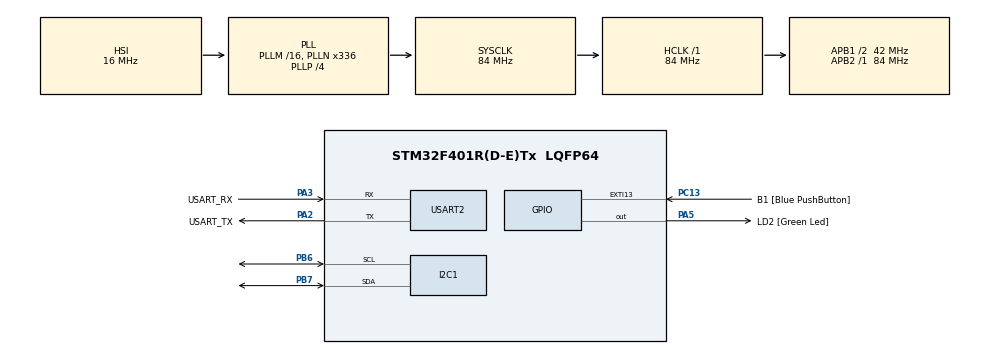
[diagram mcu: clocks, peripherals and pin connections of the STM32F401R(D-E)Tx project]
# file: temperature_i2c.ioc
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Dma.I2C1_RX.1.Direction=DMA_PERIPH_TO_MEMORY
Dma.I2C1_RX.1.FIFOMode=DMA_FIFOMODE_DISABLE
Dma.I2C1_RX.1.Instance=DMA1_Stream0
Dma.I2C1_RX.1.MemDataAlignment=DMA_MDATAALIGN_BYTE
Dma.I2C1_RX.1.MemInc=DMA_MINC_ENABLE
Dma.I2C1_RX.1.Mode=DMA_NORMAL
Dma.I2C1_RX.1.PeriphDataAlignment=DMA_PDATAALIGN_BYTE
Dma.I2C1_RX.1.PeriphInc=DMA_PINC_DISABLE
Dma.I2C1_RX.1.Priority=DMA_PRIORITY_HIGH
Dma.I2C1_TX.0.Direction=DMA_MEMORY_TO_PERIPH
Dma.I2C1_TX.0.FIFOMode=DMA_FIFOMODE_DISABLE
Dma.I2C1_TX.0.Instance=DMA1_Stream6
Dma.I2C1_TX.0.MemDataAlignment=DMA_MDATAALIGN_BYTE
Dma.I2C1_TX.0.MemInc=DMA_MINC_ENABLE
Dma.I2C1_TX.0.Mode=DMA_NORMAL
Dma.I2C1_TX.0.PeriphDataAlignment=DMA_PDATAALIGN_BYTE
Dma.I2C1_TX.0.PeriphInc=DMA_PINC_DISABLE
Dma.I2C1_TX.0.Priority=DMA_PRIORITY_HIGH
Dma.Request0=I2C1_TX
Dma.Request1=I2C1_RX
Mcu.Family=STM32F4
Mcu.Name=STM32F401R(D-E)Tx
Mcu.Package=LQFP64
NVIC.DMA1_Stream0_IRQn=true\:0\:0\:false\:false\:true\:false\:true\:true
NVIC.DMA1_Stream6_IRQn=true\:0\:0\:false\:false\:true\:false\:true\:true
NVIC.I2C1_ER_IRQn=true\:0\:0\:false\:false\:true\:true\:true\:true
NVIC.I2C1_EV_IRQn=true\:0\:0\:false\:false\:true\:true\:true\:true
NVIC.PriorityGroup=NVIC_PRIORITYGROUP_4
NVIC.TIM2_IRQn=true\:0\:0\:false\:false\:true\:true\:true\:true
NVIC.USART2_IRQn=true\:0\:0\:false\:false\:true\:true\:true\:true
PA13.GPIO_Label=TMS
PA13.Mode=Trace_Asynchronous_SW
PA13.Signal=SYS_JTMS-SWDIO
PA14.GPIO_Label=TCK
PA14.Mode=Trace_Asynchronous_SW
PA14.Signal=SYS_JTCK-SWCLK
PA2.GPIO_Label=USART_TX
PA2.GPIO_Mode=GPIO_MODE_AF_PP
PA2.GPIO_PuPd=GPIO_NOPULL
PA2.GPIO_Speed=GPIO_SPEED_FREQ_LOW
PA2.Mode=Asynchronous
PA2.Signal=USART2_TX
PA3.GPIO_Label=USART_RX
PA3.GPIO_Mode=GPIO_MODE_AF_PP
PA3.GPIO_PuPd=GPIO_NOPULL
PA3.GPIO_Speed=GPIO_SPEED_FREQ_LOW
PA3.Mode=Asynchronous
PA3.Signal=USART2_RX
PA5.GPIO_Label=LD2 [Green Led]
PA5.GPIO_Mode=GPIO_MODE_OUTPUT_PP
PA5.GPIO_PuPd=GPIO_NOPULL
PA5.GPIO_Speed=GPIO_SPEED_FREQ_LOW
PA5.Signal=GPIO_Output
PB3.GPIO_Label=SWO
PB3.Mode=Trace_Asynchronous_SW
PB3.Signal=SYS_JTDO-SWO
PB6.Mode=I2C
PB6.Signal=I2C1_SCL
PB7.Mode=I2C
PB7.Signal=I2C1_SDA
PC13-ANTI_TAMP.GPIO_Label=B1 [Blue PushButton]
PC13-ANTI_TAMP.GPIO_ModeDefaultEXTI=GPIO_MODE_IT_FALLING
PC13-ANTI_TAMP.GPIO_PuPd=GPIO_NOPULL
PC13-ANTI_TAMP.Signal=GPXTI13
PC14-OSC32_IN.Mode=LSE-External-Oscillator
PC14-OSC32_IN.Signal=RCC_OSC32_IN
PC15-OSC32_OUT.Mode=LSE-External-Oscillator
PC15-OSC32_OUT.Signal=RCC_OSC32_OUT
PH0\ -\ OSC_IN.Mode=HSE-External-Clock-Source
PH0\ -\ OSC_IN.Signal=RCC_OSC_IN
PH1\ -\ OSC_OUT.Mode=HSE-External-Clock-Source
PH1\ -\ OSC_OUT.Signal=RCC_OSC_OUT
ProjectManager.HeapSize=0x200
ProjectManager.StackSize=0x400
ProjectManager.TargetToolchain=STM32CubeIDE
RCC.48MHZClocksFreq_Value=48000000
RCC.AHBFreq_Value=84000000
RCC.APB1CLKDivider=RCC_HCLK_DIV2
RCC.APB1Freq_Value=42000000
RCC.APB1TimFreq_Value=84000000
RCC.APB2Freq_Value=84000000
RCC.APB2TimFreq_Value=84000000
RCC.CortexFreq_Value=84000000
RCC.HCLKFreq_Value=84000000
RCC.HSE_VALUE=8000000
RCC.HSI_VALUE=16000000
RCC.PLLN=336
RCC.PLLP=RCC_PLLP_DIV4
RCC.PLLQ=7
RCC.SYSCLKFreq_VALUE=84000000
RCC.SYSCLKSource=RCC_SYSCLKSOURCE_PLLCLK
RCC.VCOOutputFreq_Value=336000000
TIM2.Period=10000
TIM2.Prescaler=4800
USART2.VirtualMode=VM_ASYNC
VP_TIM2_VS_ClockSourceINT.Mode=Internal
board=NUCLEO-F401RE

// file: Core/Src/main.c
/* USER CODE BEGIN Header */
/**
  ******************************************************************************
  * @file           : main.c
  * @brief          : Main program body
  ******************************************************************************
  * @attention
  *
  * Copyright (c) 2025 STMicroelectronics.
  * All rights reserved.
  *
  * This software is licensed under terms that can be found in the LICENSE file
  * in the root directory of this software component.
  * If no LICENSE file comes with this software, it is provided AS-IS.
  *
  ******************************************************************************
  */
/* USER CODE END Header */
#include "main.h"

I2C_HandleTypeDef hi2c1;
DMA_HandleTypeDef hdma_i2c1_tx;
DMA_HandleTypeDef hdma_i2c1_rx;

TIM_HandleTypeDef htim2;

UART_HandleTypeDef huart2;

/* USER CODE BEGIN PV */
uint8_t LM_75_ADDRESS = 0b10010000;
uint8_t LM75_TEMP_ADDRESS = 0x00;

uint8_t temperature[2];
char string[64];
/* USER CODE END PV */

void SystemClock_Config(void);
static void MX_GPIO_Init(void);
static void MX_DMA_Init(void);
static void MX_USART2_UART_Init(void);
static void MX_I2C1_Init(void);
static void MX_TIM2_Init(void);
/* USER CODE BEGIN PFP */
void HAL_TIM_PeriodElapsedCallback(TIM_HandleTypeDef *htim){
	if (htim->Instance == TIM2){
		HAL_I2C_Master_Transmit_IT(&hi2c1, LM_75_ADDRESS, &LM75_TEMP_ADDRESS, 1);
	}
}

void HAL_I2C_MasterRxCpltCallback(I2C_HandleTypeDef *hi2c){
	if(hi2c->Instance == I2C1){
		HAL_I2C_Master_Receive_DMA(&hi2c1, LM75_ADDRESS, &temperature, 2);
	}
}

void HAL_I2C_MasterRxCpltCallback(I2C_HandleTypeDef *hi2c)
{
    if (hi2c->Instance == I2C1)
    {
    	//temperature[0] = 0xFA;
    	//temperature[1] = 0x80;

    	int16_t temp = ((int16_t)temperature[0] << 8) | temperature[1];
    	temp >>= 7;

    	 float temperature_c;

    	        if (temp & 0x0100)
    	        {

    	            temp = temp | 0xFE00;
    	            temperature_c = (float)temp * 0.5f;
    	        }
    	        else
    	            temperature_c = (float)temp * 0.5f;

    	int length;
    	length = snprintf(string, sizeof(string), "Temperature: %.3f C\r\n",temperature_c);
    	HAL_UART_Transmit_DMA(&huart2, (uint8_t*)string, length);
    }
}
/* USER CODE END PFP */

int main(void)
{

  /* MCU Configuration--------------------------------------------------------*/

  /* Reset of all peripherals, Initializes the Flash interface and the Systick. */
  HAL_Init();

  /* Configure the system clock */
  SystemClock_Config();

  /* Initialize all configured peripherals */
  MX_GPIO_Init();
  MX_DMA_Init();
  MX_USART2_UART_Init();
  MX_I2C1_Init();
  MX_TIM2_Init();
  /* USER CODE BEGIN 2 */
  HAL_TIM_Base_Start_IT(&htim2);

  /* USER CODE END 2 */

  /* Infinite loop */
  while (1)
  {

  }
}

void SystemClock_Config(void)
{
  RCC_OscInitTypeDef RCC_OscInitStruct = {0};
  RCC_ClkInitTypeDef RCC_ClkInitStruct = {0};

  /** Configure the main internal regulator output voltage
  */
  __HAL_RCC_PWR_CLK_ENABLE();
  __HAL_PWR_VOLTAGESCALING_CONFIG(PWR_REGULATOR_VOLTAGE_SCALE2);

  /** Initializes the RCC Oscillators according to the specified parameters
  * in the RCC_OscInitTypeDef structure.
  */
  RCC_OscInitStruct.OscillatorType = RCC_OSCILLATORTYPE_HSI;
  RCC_OscInitStruct.HSIState = RCC_HSI_ON;
  RCC_OscInitStruct.HSICalibrationValue = RCC_HSICALIBRATION_DEFAULT;
  RCC_OscInitStruct.PLL.PLLState = RCC_PLL_ON;
  RCC_OscInitStruct.PLL.PLLSource = RCC_PLLSOURCE_HSI;
  RCC_OscInitStruct.PLL.PLLM = 16;
  RCC_OscInitStruct.PLL.PLLN = 336;
  RCC_OscInitStruct.PLL.PLLP = RCC_PLLP_DIV4;
  RCC_OscInitStruct.PLL.PLLQ = 7;
  if (HAL_RCC_OscConfig(&RCC_OscInitStruct) != HAL_OK)
  {
    Error_Handler();
  }

  /** Initializes the CPU, AHB and APB buses clocks
  */
  RCC_ClkInitStruct.ClockType = RCC_CLOCKTYPE_HCLK|RCC_CLOCKTYPE_SYSCLK
                              |RCC_CLOCKTYPE_PCLK1|RCC_CLOCKTYPE_PCLK2;
  RCC_ClkInitStruct.SYSCLKSource = RCC_SYSCLKSOURCE_PLLCLK;
  RCC_ClkInitStruct.AHBCLKDivider = RCC_SYSCLK_DIV1;
  RCC_ClkInitStruct.APB1CLKDivider = RCC_HCLK_DIV2;
  RCC_ClkInitStruct.APB2CLKDivider = RCC_HCLK_DIV1;

  if (HAL_RCC_ClockConfig(&RCC_ClkInitStruct, FLASH_LATENCY_2) != HAL_OK)
  {
    Error_Handler();
  }
}

static void MX_I2C1_Init(void)
{

  hi2c1.Instance = I2C1;
  hi2c1.Init.ClockSpeed = 100000;
  hi2c1.Init.DutyCycle = I2C_DUTYCYCLE_2;
  hi2c1.Init.OwnAddress1 = 0;
  hi2c1.Init.AddressingMode = I2C_ADDRESSINGMODE_7BIT;
  hi2c1.Init.DualAddressMode = I2C_DUALADDRESS_DISABLE;
  hi2c1.Init.OwnAddress2 = 0;
  hi2c1.Init.GeneralCallMode = I2C_GENERALCALL_DISABLE;
  hi2c1.Init.NoStretchMode = I2C_NOSTRETCH_DISABLE;
  if (HAL_I2C_Init(&hi2c1) != HAL_OK)
  {
    Error_Handler();
  }

}

static void MX_TIM2_Init(void)
{

  TIM_ClockConfigTypeDef sClockSourceConfig = {0};
  TIM_MasterConfigTypeDef sMasterConfig = {0};

  htim2.Instance = TIM2;
  htim2.Init.Prescaler = 4800;
  htim2.Init.CounterMode = TIM_COUNTERMODE_UP;
  htim2.Init.Period = 10000;
  htim2.Init.ClockDivision = TIM_CLOCKDIVISION_DIV1;
  htim2.Init.AutoReloadPreload = TIM_AUTORELOAD_PRELOAD_DISABLE;
  if (HAL_TIM_Base_Init(&htim2) != HAL_OK)
  {
    Error_Handler();
  }
  sClockSourceConfig.ClockSource = TIM_CLOCKSOURCE_INTERNAL;
  if (HAL_TIM_ConfigClockSource(&htim2, &sClockSourceConfig) != HAL_OK)
  {
    Error_Handler();
  }
  sMasterConfig.MasterOutputTrigger = TIM_TRGO_RESET;
  sMasterConfig.MasterSlaveMode = TIM_MASTERSLAVEMODE_DISABLE;
  if (HAL_TIMEx_MasterConfigSynchronization(&htim2, &sMasterConfig) != HAL_OK)
  {
    Error_Handler();
  }

}

static void MX_USART2_UART_Init(void)
{

  huart2.Instance = USART2;
  huart2.Init.BaudRate = 115200;
  huart2.Init.WordLength = UART_WORDLENGTH_8B;
  huart2.Init.StopBits = UART_STOPBITS_1;
  huart2.Init.Parity = UART_PARITY_NONE;
  huart2.Init.Mode = UART_MODE_TX_RX;
  huart2.Init.HwFlowCtl = UART_HWCONTROL_NONE;
  huart2.Init.OverSampling = UART_OVERSAMPLING_16;
  if (HAL_UART_Init(&huart2) != HAL_OK)
  {
    Error_Handler();
  }

}

static void MX_DMA_Init(void)
{

  /* DMA controller clock enable */
  __HAL_RCC_DMA1_CLK_ENABLE();

  /* DMA interrupt init */
  /* DMA1_Stream0_IRQn interrupt configuration */
  HAL_NVIC_SetPriority(DMA1_Stream0_IRQn, 0, 0);
  HAL_NVIC_EnableIRQ(DMA1_Stream0_IRQn);
  /* DMA1_Stream6_IRQn interrupt configuration */
  HAL_NVIC_SetPriority(DMA1_Stream6_IRQn, 0, 0);
  HAL_NVIC_EnableIRQ(DMA1_Stream6_IRQn);

}

static void MX_GPIO_Init(void)
{
  GPIO_InitTypeDef GPIO_InitStruct = {0};

  /* GPIO Ports Clock Enable */
  __HAL_RCC_GPIOC_CLK_ENABLE();
  __HAL_RCC_GPIOH_CLK_ENABLE();
  __HAL_RCC_GPIOA_CLK_ENABLE();
  __HAL_RCC_GPIOB_CLK_ENABLE();

  /*Configure GPIO pin Output Level */
  HAL_GPIO_WritePin(LD2_GPIO_Port, LD2_Pin, GPIO_PIN_RESET);

  /*Configure GPIO pin : B1_Pin */
  GPIO_InitStruct.Pin = B1_Pin;
  GPIO_InitStruct.Mode = GPIO_MODE_IT_FALLING;
  GPIO_InitStruct.Pull = GPIO_NOPULL;
  HAL_GPIO_Init(B1_GPIO_Port, &GPIO_InitStruct);

  /*Configure GPIO pin : LD2_Pin */
  GPIO_InitStruct.Pin = LD2_Pin;
  GPIO_InitStruct.Mode = GPIO_MODE_OUTPUT_PP;
  GPIO_InitStruct.Pull = GPIO_NOPULL;
  GPIO_InitStruct.Speed = GPIO_SPEED_FREQ_LOW;
  HAL_GPIO_Init(LD2_GPIO_Port, &GPIO_InitStruct);

}

void Error_Handler(void)
{
  __disable_irq();
  while (1)
  {
  }
}
